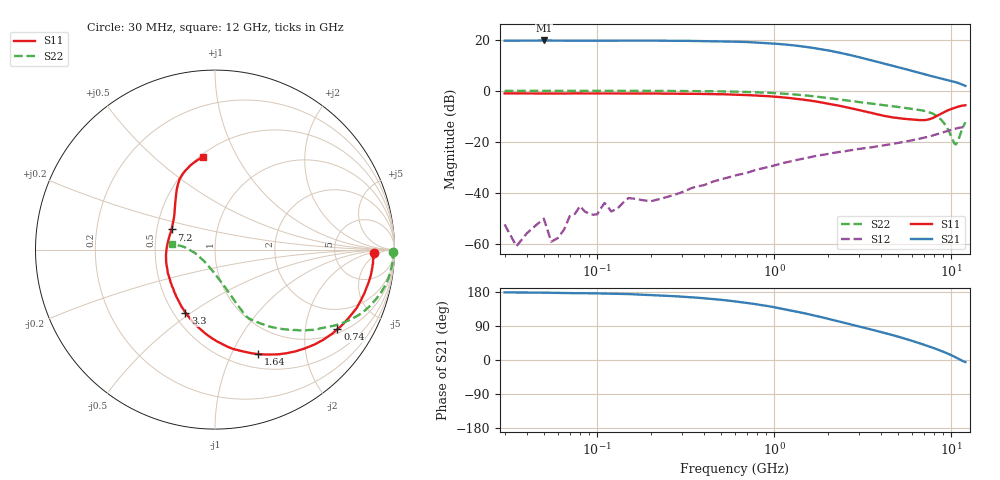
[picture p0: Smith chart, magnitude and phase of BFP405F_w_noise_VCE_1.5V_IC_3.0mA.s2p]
! Infineon Technologies  Discrete & RF Semiconductors
! BFP405F
! VCE =  1.5 V,  IC =  3.0 mA
! Common Emitter S-Parameters:  Nov 2015
# GHz  S  MA  R  50
!  f  S11  S21  S12  S22
! GHz  MAG  ANG  MAG  ANG  MAG  ANG  MAG  ANG
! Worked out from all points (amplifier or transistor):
!   239 points, 30 MHz to 12 GHz, reference 50 ohm
!   highest |S21| = 19.7 dB at 50 MHz (marker M1)
!   |S21| within 3 dB of that: start of sweep to 1.682 GHz
!   unconditionally stable (mu >= 1): 3.455 GHz to end of sweep
!   at 300 MHz: K = 0.05, MSG = 29.7 dB, |S12| = -39.8 dB
!   at 1.88 GHz: K = 0.51, MSG = 20.6 dB, |S12| = -25.1 dB
!   at 12 GHz: K = 1.56, MAG = 3.6 dB, |S12| = -14.1 dB
!   lowest NFmin = 1.11 dB at 450 MHz
!   S11 on the Smith chart (normalised r, x): 30 MHz: 16, -3; 740 MHz: 1.14, -2.98; 1.64 GHz: 0.66, -1.27; 3.3 GHz: 0.57, -0.48; 7.2 GHz: 0.60, +0.14; 12 GHz: 0.52, +0.73
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0.03  0.8848 -1.2  9.504 178.4  0.0024 -169.6  0.9919 -0.9
0.035  0.8831 -1.5  9.517 178.3  0.0009 148.6  0.9932 -0.9
0.05  0.8813 -2.4  9.632 177.5  0.0031 70.2  0.9956 -1.4
0.055  0.8809 -2.5  9.582 177.4  0.0011 91.1  0.9939 -1.3
0.08  0.8822 -3.5  9.508 176.1  0.0055 61.3  0.9926 -1.9
0.085  0.8828 -3.9  9.529 176.2  0.0043 81.0  0.9931 -2.1
0.11  0.8843 -5.1  9.519 175.3  0.0063 80.7  0.9903 -2.6
0.12  0.8817 -5.5  9.513 175.1  0.0043 81.5  0.9952 -2.8
0.15  0.8816 -6.9  9.565 174.0  0.0079 86.5  0.9913 -3.6
0.24  0.8771 -11.0  9.506 169.8  0.008 87.7  0.9885 -5.7
0.4  0.8627 -18.2  9.393 163.0  0.0141 86.9  0.9793 -9.5
0.6  0.8369 -27.0  9.109 154.7  0.0218 78.0  0.9579 -14.1
0.74  0.8137 -33.0  8.883 149.2  0.0262 76.0  0.9384 -17.1
1.12  0.7392 -48.6  8.105 134.9  0.0382 68.4  0.8761 -24.8
1.64  0.6301 -67.5  6.917 118.6  0.0509 60.5  0.7819 -33.0
2.16  0.5338 -84.6  5.868 105.1  0.0603 54.4  0.6963 -40.0
3.3  0.3886 -115.1  4.191 83.8  0.0755 46.7  0.5741 -50.2
4.5  0.3076 -143.6  3.176 67.7  0.0887 44.1  0.5051 -56.4
7.2  0.2668 155.1  2.057 38.3  0.1221 38.2  0.3922 -65.5
8.8  0.3591 127.6  1.721 23.7  0.1493 33.9  0.2638 -71.3
10.6  0.4703 110.5  1.463 6.7  0.1815 25.3  0.0887 -138.8
12  0.5191 97.4  1.241 -5.5  0.1975 18.8  0.2402 172.8
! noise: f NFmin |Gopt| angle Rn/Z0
0.45  1.11  0.5  6  0.37
0.9  1.12  0.47  14  0.41
1.5  1.21  0.44  20  0.35
1.9  1.25  0.42  27  0.35
2.4  1.43  0.39  37  0.36
3  1.5  0.37  47  0.33
3.5  1.54  0.36  57  0.31
4.5  1.72  0.3  73  0.26
5.5  1.97  0.19  88  0.16
